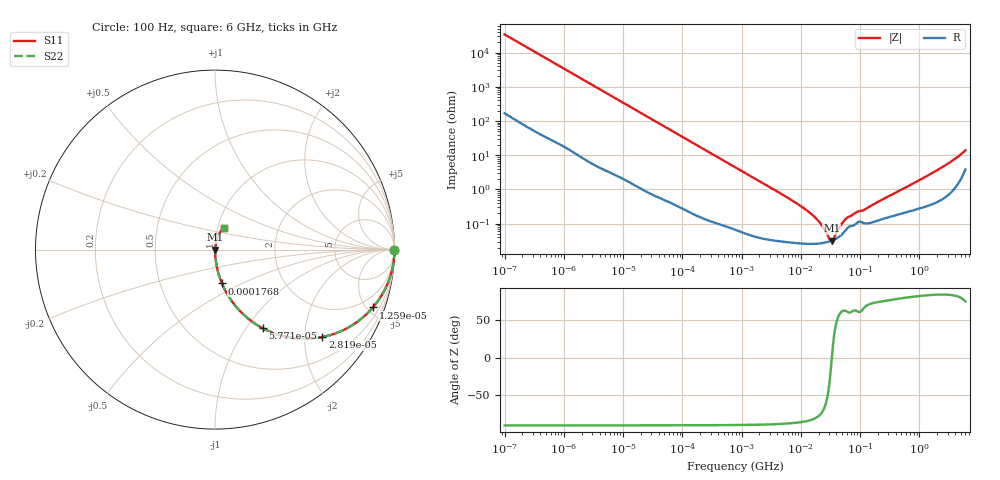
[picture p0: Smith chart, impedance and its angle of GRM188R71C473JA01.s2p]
!Murata Part Number: GRM188R71C473JA01
!These Parameters are Measured in Series Mode Connection
!Data Generated on Mar 30, 2021
!  o--ll--o
!Port1  Port2
!  o------o
!Operation Temp=25[degC], DC Bias Voltage=0[V]
!Freq. Start=100[Hz] Stop=6[GHz] 401[Steps]
# Hz S RI R 50
!Freq.(Hz) S11(Real) S11(Imag) S21(Real) S21(Imag) S12(Real) S12(Imag) S22(Real) S22(Imag)
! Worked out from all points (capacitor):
!   401 points, 100 Hz to 6 GHz, reference 50 ohm
!   read as one part in series: C = 47 nF near 109 Hz
!   lowest |Z| = 31.9 mohm at 33.3 MHz (marker M1)
!   series resonance near 33.4 MHz, so ESL is about 480 pH
!   S11 on the Smith chart (normalised r, x): 100 Hz: open; 12.59 kHz: 1.03, -5.45; 28.19 kHz: 1.02, -2.44; 57.71 kHz: 1.01, -1.20; 176.8 kHz: 1.00, -0.39; 6 GHz: 1.08, +0.27
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100  1 -0.00296  2.35e-05 0.00296  2.35e-05 0.00296  1 -0.00296
2008  0.9963 -0.0586  0.00374 0.0586  0.00374 0.0586  0.9963 -0.0586
5378  0.9751 -0.1532  0.0249 0.1532  0.0249 0.1532  0.9751 -0.1532
12592  0.8799 -0.3221  0.1201 0.3221  0.1201 0.3221  0.8799 -0.3221
18841  0.7676 -0.4193  0.2324 0.4193  0.2324 0.4193  0.7676 -0.4193
28191  0.598 -0.4872  0.402 0.4872  0.402 0.4872  0.598 -0.4872
40335  0.4226 -0.4906  0.5774 0.4906  0.5774 0.4906  0.4226 -0.4906
57709  0.265 -0.4377  0.735 0.4377  0.735 0.4377  0.265 -0.4377
94437  0.1203 -0.3214  0.8797 0.3214  0.8797 0.3214  0.1203 -0.3214
176758  0.0386 -0.1884  0.9614 0.1884  0.9614 0.1884  0.0386 -0.1884
774597  0.0027 -0.045  0.9973 0.045  0.9973 0.045  0.0027 -0.045
6644369  0.000307 -0.00513  0.9997 0.00513  0.9997 0.00513  0.000307 -0.00513
1.555665e7  0.000259 -0.0018  0.9997 0.0018  0.9997 0.0018  0.000259 -0.0018
2.128304e7  0.000266 -0.001  0.9997 0.001  0.9997 0.001  0.000266 -0.001
3.045065e7  0.000302 -0.0002  0.9997 0.0002  0.9997 0.0002  0.000302 -0.0002
3.330331e7  0.000319 -6.1e-06  0.9997 6.1e-06  0.9997 6.1e-06  0.000319 -6.1e-06
3.64232e7  0.00034 0.000188  0.9997 -0.000188  0.9997 -0.000188  0.00034 0.000188
4.983056e7  0.000491 0.000897  0.9995 -0.000897  0.9995 -0.000897  0.000491 0.000897
5.960426e7  0.000707 0.00127  0.9993 -0.00127  0.9993 -0.00127  0.000707 0.00127
3.124326e8  0.0016 0.00624  0.9984 -0.00624  0.9984 -0.00624  0.0016 0.00624
2.048624e9  0.00568 0.0368  0.9943 -0.0368  0.9943 -0.0368  0.00568 0.0368
6e9  0.0528 0.1227  0.9472 -0.1227  0.9472 -0.1227  0.0528 0.1227
